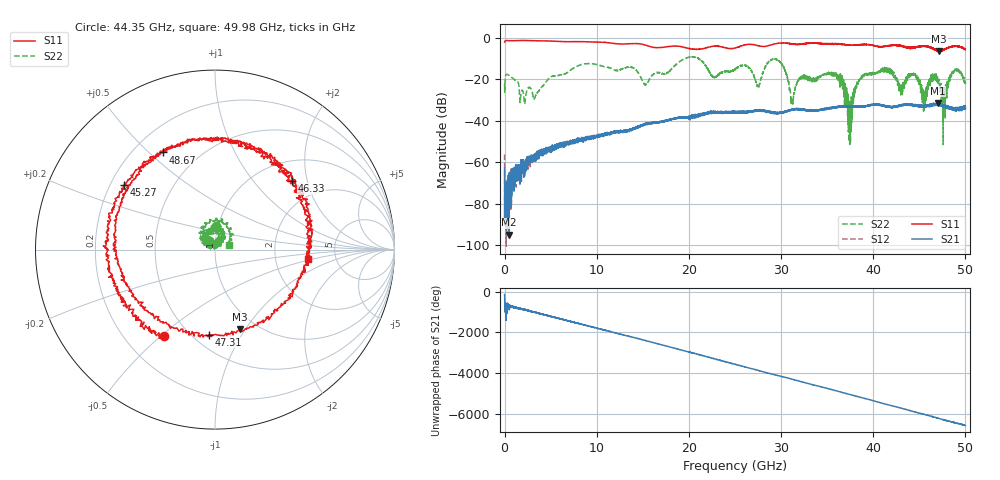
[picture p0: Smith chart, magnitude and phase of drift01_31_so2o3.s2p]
!Created with skrf (http://scikit-rf.org).
# Hz S RI R 50.0
!freq ReS11 ImS11 ReS21 ImS21 ReS12 ImS12 ReS22 ImS22
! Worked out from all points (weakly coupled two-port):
!   10001 points, 300 kHz to 50 GHz, reference 50 ohm
!   highest |S21| = -31.45 dB at 46.99 GHz (marker M1); lowest = -94.8 dB at 505.3 MHz (marker M2)
!   lowest |S11| = -6.7 dB at 47.17 GHz (marker M3), VSWR 2.73, Z = 42 - j47.3 ohm
!   |S11| at or under -10 dB: nowhere
!   |S22| runs from -51.5 to -9.2 dB; largest |S21 - S12| = 0.0043
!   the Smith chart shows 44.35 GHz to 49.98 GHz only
!   S11 on the Smith chart (normalised r, x): 44.35 GHz: 0.37, -0.51; 45.27 GHz: 0.26, +0.30; 46.33 GHz: 1.42, +1.62; 47.31 GHz: 0.60, -0.73; 48.67 GHz: 0.32, +0.55; 49.98 GHz: 3.12, -0.44
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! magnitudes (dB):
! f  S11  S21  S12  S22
! 300 kHz  -2.1  -62.9  -56.3  -22.3
! 505.3 MHz  -1.5  -94.8  -68.8  -18.2
! 3.29 GHz  -1.5  -57.5  -58.2  -28.9
! 8.335 GHz  -1.9  -49.0  -48.8  -12.9
! 16.67 GHz  -4.8  -40.8  -40.7  -16.7
! 25 GHz  -5.0  -35.9  -35.7  -15.4
! 29.58 GHz  -2.8  -36.3  -36.5  -10.7
! 31.23 GHz  -3.1  -34.6  -34.6  -31.1
! 33.34 GHz  -2.6  -35.0  -35.2  -20.1
! 36.07 GHz  -2.9  -33.5  -33.5  -18.9
! 37.47 GHz  -3.6  -33.2  -33.1  -45.2
! 38.66 GHz  -3.4  -33.3  -33.0  -19.9
! 41.67 GHz  -3.9  -33.2  -33.3  -15.6
! 44.35 GHz  -5.0  -32.9  -32.6  -17.5
! 45.27 GHz  -4.1  -32.8  -32.8  -23.8
! 46.33 GHz  -4.8  -32.2  -32.3  -20.1
! 46.99 GHz  -6.4  -31.5  -32.3  -19.2
! 47.17 GHz  -6.7  -32.9  -32.4  -21.2
! 47.31 GHz  -6.5  -32.2  -32.1  -22.8
! 48.67 GHz  -4.2  -34.0  -34.3  -16.6
! 49.98 GHz  -5.6  -34.0  -33.0  -21.5
! 50 GHz  -5.5  -33.6  -33.4  -21.6
